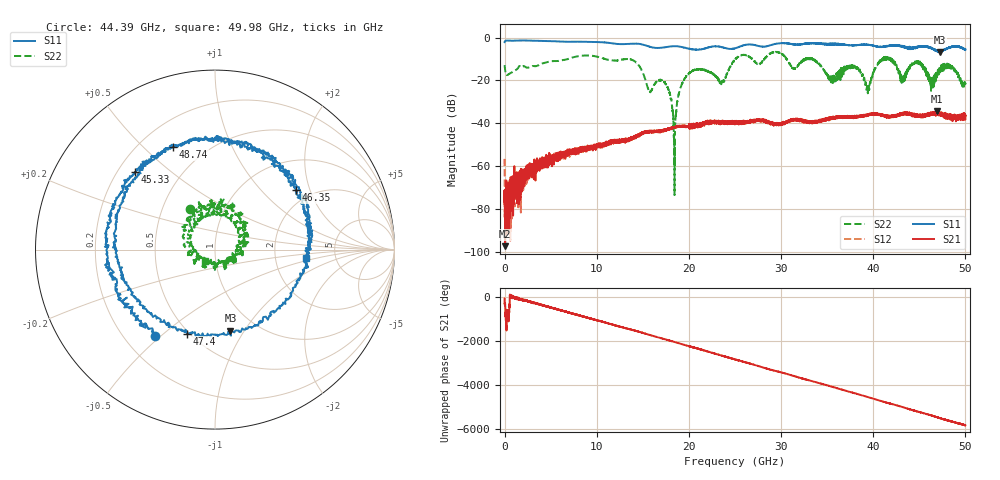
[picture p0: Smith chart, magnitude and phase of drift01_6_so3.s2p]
!Created with skrf (http://scikit-rf.org).
# Hz S RI R 50.0
!freq ReS11 ImS11 ReS21 ImS21 ReS12 ImS12 ReS22 ImS22
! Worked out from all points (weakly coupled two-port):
!   10001 points, 300 kHz to 50 GHz, reference 50 ohm
!   highest |S21| = -34.41 dB at 46.95 GHz (marker M1); lowest = -97.4 dB at 60.3 MHz (marker M2)
!   lowest |S11| = -6.7 dB at 47.2 GHz (marker M3), VSWR 2.71, Z = 37.9 - j43.5 ohm
!   |S11| at or under -10 dB: nowhere
!   |S22| runs from -73.5 to -6.6 dB; largest |S21 - S12| = 0.004
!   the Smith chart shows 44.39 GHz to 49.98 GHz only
!   S11 on the Smith chart (normalised r, x): 44.39 GHz: 0.33, -0.48; 45.33 GHz: 0.27, +0.38; 46.35 GHz: 1.68, +1.62; 47.4 GHz: 0.48, -0.60; 48.74 GHz: 0.33, +0.62; 49.98 GHz: 3.01, -0.39
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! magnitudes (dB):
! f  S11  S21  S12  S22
! 300 kHz  -2.1  -72.0  -56.6  -12.9
! 60.3 MHz  -1.6  -97.4  -75.8  -15.5
! 8.335 GHz  -1.9  -51.9  -52.1  -8.5
! 16.67 GHz  -4.9  -44.0  -43.6  -19.9
! 17.74 GHz  -4.3  -43.0  -42.6  -23.6
! 18.43 GHz  -4.1  -42.1  -41.8  -57.6
! 19.9 GHz  -5.1  -41.6  -41.6  -17.1
! 23.59 GHz  -4.5  -39.9  -40.0  -20.4
! 25 GHz  -5.0  -39.7  -39.8  -10.4
! 33.34 GHz  -2.6  -39.3  -39.6  -10.0
! 39.36 GHz  -3.4  -36.1  -35.9  -23.3
! 41.67 GHz  -3.9  -36.6  -36.5  -9.7
! 43.19 GHz  -4.3  -35.4  -35.4  -18.8
! 44.39 GHz  -4.7  -36.3  -35.8  -11.5
! 45.33 GHz  -4.1  -36.0  -36.5  -13.9
! 46.35 GHz  -5.0  -36.0  -35.2  -20.4
! 46.95 GHz  -6.4  -34.4  -35.2  -17.6
! 47.2 GHz  -6.7  -35.7  -35.5  -14.2
! 47.4 GHz  -6.1  -35.7  -35.4  -14.2
! 48.74 GHz  -4.2  -37.3  -37.4  -14.7
! 49.98 GHz  -5.9  -36.7  -36.5  -21.4
! 50 GHz  -5.6  -36.3  -36.8  -21.5
